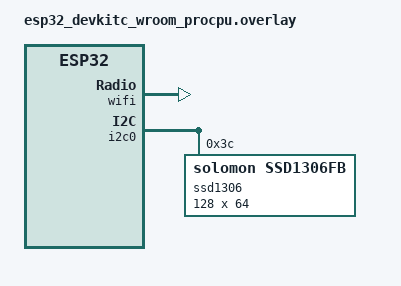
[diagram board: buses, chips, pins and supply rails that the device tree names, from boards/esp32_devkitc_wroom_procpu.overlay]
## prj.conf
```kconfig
CONFIG_LV_Z_MEM_POOL_SIZE=32768
CONFIG_LV_Z_SHELL=y
CONFIG_MAIN_STACK_SIZE=8192
CONFIG_HEAP_MEM_POOL_SIZE=8192
CONFIG_INIT_STACKS=y


CONFIG_DISPLAY=y
CONFIG_DISPLAY_LOG_LEVEL_ERR=y

CONFIG_LOG=y
CONFIG_SHELL=y

CONFIG_LVGL=y
CONFIG_LV_MEM_CUSTOM=y
CONFIG_LV_USE_LOG=y
CONFIG_LV_USE_LABEL=y
CONFIG_LV_USE_ARC=y
CONFIG_LV_FONT_MONTSERRAT_12=y

CONFIG_LV_Z_VDB_SIZE=64
CONFIG_LV_DPI_DEF=130
CONFIG_LV_Z_BITS_PER_PIXEL=1
CONFIG_LV_COLOR_DEPTH_1=y
CONFIG_LV_FONT_DEFAULT_MONTSERRAT_12=y

CONFIG_I2C=y
CONFIG_I2C_ESP32=y
CONFIG_SSD1306=y
```

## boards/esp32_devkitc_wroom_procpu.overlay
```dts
&wifi {
	status = "okay";
};

&i2c0 {
	ssd1306: ssd1306@3c {
		compatible = "solomon,ssd1306fb";
		reg = <0x3c>;
		width = <128>;
		height = <64>;
		segment-offset = <0>;
		page-offset = <0>;
		display-offset = <0>;
		multiplex-ratio = <63>;
		segment-remap;
		com-invdir;
		com-sequential;
		prechargep = <0x22>;
		inversion-on;
	};
	status = "okay";
};


/ {
	chosen{
	zephyr,display = &ssd1306;
	};

	wifi_ap: wifi_ap {
		compatible = "espressif,esp32-wifi";
		status = "okay";
	};
};
```

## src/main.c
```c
/*
 * Copyright (c) 2018 Jan Van Winkel <jan.van_winkel@dxplore.eu>
 *
 * SPDX-License-Identifier: Apache-2.0
 */

#include <zephyr/device.h>
#include <zephyr/devicetree.h>
#include <zephyr/drivers/display.h>
#include <zephyr/drivers/gpio.h>
#include <lvgl.h>
#include <stdio.h>
#include <string.h>
#include <zephyr/kernel.h>
#include <lvgl_input_device.h>

#define LOG_LEVEL CONFIG_LOG_DEFAULT_LEVEL
#include <zephyr/logging/log.h>
LOG_MODULE_REGISTER(app);

static uint32_t count;

int main(void)
{
        char count_str[11] = {0};
        const struct device *display_dev;
        lv_obj_t *hello_world_label;
        lv_obj_t *count_label;

        display_dev = DEVICE_DT_GET(DT_CHOSEN(zephyr_display));
        if (!device_is_ready(display_dev)) {
                LOG_ERR("Device not ready, aborting test");
                return 0;
        }

        hello_world_label = lv_label_create(lv_scr_act());


        lv_label_set_text(hello_world_label, "Hello world!");
        lv_obj_align(hello_world_label, LV_ALIGN_TOP_LEFT, 0, 0);

        count_label = lv_label_create(lv_scr_act());
        lv_obj_align(count_label, LV_ALIGN_BOTTOM_MID, 0, 0);

        lv_task_handler();
        display_blanking_off(display_dev);

        while (1) {
                if ((count % 100) == 0U) {
                        sprintf(count_str, "%d", count/100U);
                        lv_label_set_text(count_label, count_str);
                }
                lv_task_handler();
                ++count;
                k_sleep(K_MSEC(10));
        }
}
```
